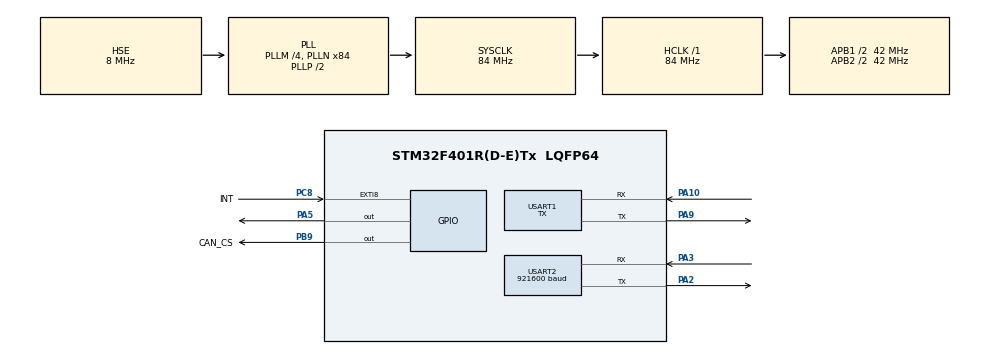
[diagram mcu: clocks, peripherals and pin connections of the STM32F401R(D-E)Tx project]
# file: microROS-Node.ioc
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Dma.Request0=USART2_RX
Dma.Request1=USART2_TX
Dma.Request2=USART1_TX
Dma.USART1_TX.2.Direction=DMA_MEMORY_TO_PERIPH
Dma.USART1_TX.2.FIFOMode=DMA_FIFOMODE_DISABLE
Dma.USART1_TX.2.Instance=DMA2_Stream7
Dma.USART1_TX.2.MemDataAlignment=DMA_MDATAALIGN_BYTE
Dma.USART1_TX.2.MemInc=DMA_MINC_ENABLE
Dma.USART1_TX.2.Mode=DMA_NORMAL
Dma.USART1_TX.2.PeriphDataAlignment=DMA_PDATAALIGN_BYTE
Dma.USART1_TX.2.PeriphInc=DMA_PINC_DISABLE
Dma.USART1_TX.2.Priority=DMA_PRIORITY_LOW
Dma.USART2_RX.0.Direction=DMA_PERIPH_TO_MEMORY
Dma.USART2_RX.0.FIFOMode=DMA_FIFOMODE_DISABLE
Dma.USART2_RX.0.Instance=DMA1_Stream5
Dma.USART2_RX.0.MemDataAlignment=DMA_MDATAALIGN_BYTE
Dma.USART2_RX.0.MemInc=DMA_MINC_ENABLE
Dma.USART2_RX.0.Mode=DMA_CIRCULAR
Dma.USART2_RX.0.PeriphDataAlignment=DMA_PDATAALIGN_BYTE
Dma.USART2_RX.0.PeriphInc=DMA_PINC_DISABLE
Dma.USART2_RX.0.Priority=DMA_PRIORITY_LOW
Dma.USART2_TX.1.Direction=DMA_MEMORY_TO_PERIPH
Dma.USART2_TX.1.FIFOMode=DMA_FIFOMODE_DISABLE
Dma.USART2_TX.1.Instance=DMA1_Stream6
Dma.USART2_TX.1.MemDataAlignment=DMA_MDATAALIGN_BYTE
Dma.USART2_TX.1.MemInc=DMA_MINC_ENABLE
Dma.USART2_TX.1.Mode=DMA_NORMAL
Dma.USART2_TX.1.PeriphDataAlignment=DMA_PDATAALIGN_BYTE
Dma.USART2_TX.1.PeriphInc=DMA_PINC_DISABLE
Dma.USART2_TX.1.Priority=DMA_PRIORITY_LOW
FREERTOS.Tasks01=defaultTask,24,2048,StartDefaultTask,Default,NULL,Dynamic,NULL,NULL;UART_Task,25,512,StartUART,Default,NULL,Dynamic,NULL,NULL
FREERTOS.configENABLE_FPU=0
FREERTOS.configMINIMAL_STACK_SIZE=128
FREERTOS.configTOTAL_HEAP_SIZE=11000
FREERTOS.configUSE_NEWLIB_REENTRANT=0
Mcu.Family=STM32F4
Mcu.Name=STM32F401R(D-E)Tx
Mcu.Package=LQFP64
NVIC.DMA1_Stream5_IRQn=true\:5\:0\:false\:false\:true\:true\:false\:true\:true
NVIC.DMA1_Stream6_IRQn=true\:5\:0\:false\:false\:true\:true\:false\:true\:true
NVIC.DMA2_Stream7_IRQn=true\:5\:0\:false\:false\:true\:true\:false\:true\:true
NVIC.EXTI9_5_IRQn=true\:5\:0\:false\:false\:true\:true\:true\:true\:true
NVIC.PriorityGroup=NVIC_PRIORITYGROUP_4
NVIC.TIM1_UP_TIM10_IRQn=true\:15\:0\:false\:false\:true\:false\:false\:true\:true
NVIC.TimeBase=TIM1_UP_TIM10_IRQn
NVIC.TimeBaseIP=TIM1
NVIC.USART1_IRQn=true\:5\:0\:false\:false\:true\:true\:true\:true\:true
NVIC.USART2_IRQn=true\:5\:0\:false\:false\:true\:true\:true\:true\:true
PA10.GPIO_PuPd=GPIO_PULLUP
PA10.Mode=Asynchronous
PA10.Signal=USART1_RX
PA2.Mode=Asynchronous
PA2.Signal=USART2_TX
PA3.GPIO_PuPd=GPIO_PULLUP
PA3.Mode=Asynchronous
PA3.Signal=USART2_RX
PA5.GPIO_Speed=GPIO_SPEED_FREQ_HIGH
PA5.Signal=GPIO_Output
PA9.Mode=Asynchronous
PA9.Signal=USART1_TX
PB9.GPIO_Label=CAN_CS
PB9.GPIO_PuPd=GPIO_PULLUP
PB9.GPIO_Speed=GPIO_SPEED_FREQ_MEDIUM
PB9.PinState=GPIO_PIN_SET
PB9.Signal=GPIO_Output
PC8.GPIO_Label=INT
PC8.GPIO_ModeDefaultEXTI=GPIO_MODE_IT_FALLING
PC8.GPIO_PuPd=GPIO_PULLUP
PC8.Signal=GPXTI8
PH0\ -\ OSC_IN.Mode=HSE-External-Oscillator
PH0\ -\ OSC_IN.Signal=RCC_OSC_IN
PH1\ -\ OSC_OUT.Mode=HSE-External-Oscillator
PH1\ -\ OSC_OUT.Signal=RCC_OSC_OUT
ProjectManager.HeapSize=0x200
ProjectManager.StackSize=0x400
ProjectManager.TargetToolchain=CMake
RCC.48MHZClocksFreq_Value=24000000
RCC.AHBFreq_Value=84000000
RCC.APB1CLKDivider=RCC_HCLK_DIV2
RCC.APB1Freq_Value=42000000
RCC.APB1TimFreq_Value=84000000
RCC.APB2CLKDivider=RCC_HCLK_DIV2
RCC.APB2Freq_Value=42000000
RCC.APB2TimFreq_Value=84000000
RCC.CortexFreq_Value=84000000
RCC.EnbaleCSS=true
RCC.HCLKFreq_Value=84000000
RCC.HSE_VALUE=8000000
RCC.HSI_VALUE=16000000
RCC.LSE_VALUE=32768
RCC.PLLM=4
RCC.PLLN=84
RCC.PLLQ=7
RCC.PLLSourceVirtual=RCC_PLLSOURCE_HSE
RCC.SYSCLKFreq_VALUE=84000000
RCC.SYSCLKSource=RCC_SYSCLKSOURCE_PLLCLK
RCC.VCOOutputFreq_Value=168000000
USART1.Mode=MODE_TX
USART1.Parity=PARITY_NONE
USART1.VirtualMode=VM_ASYNC
USART1.WordLength=WORDLENGTH_8B
USART2.BaudRate=921600
USART2.VirtualMode=VM_ASYNC
VP_FREERTOS_VS_CMSIS_V2.Mode=CMSIS_V2
VP_SYS_VS_tim1.Mode=TIM1
board=NUCLEO-F401RE

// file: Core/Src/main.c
/* USER CODE BEGIN Header */
/**
  ******************************************************************************
  * @file           : main.c
  * @brief          : Main program body
  ******************************************************************************
  * @attention
  *
  * Copyright (c) 2026 STMicroelectronics.
  * All rights reserved.
  *
  * This software is licensed under terms that can be found in the LICENSE file
  * in the root directory of this software component.
  * If no LICENSE file comes with this software, it is provided AS-IS.
  *
  ******************************************************************************
  */
/* USER CODE END Header */
#include "main.h"
#include "cmsis_os.h"

/* USER CODE BEGIN Includes */
#include <math.h>
#include <rcl/rcl.h>
#include <rcl/error_handling.h>
#include <rclc/rclc.h>
#include <rclc/executor.h>
#include <geometry_msgs/msg/vector3.h>
#include <sensor_msgs/msg/joint_state.h>
#include <string.h>
#include <uxr/client/transport.h>
#include <rmw_microxrcedds_c/config.h>
#include <rmw_microros/rmw_microros.h>
#include <rmw_microros/ping.h>
#include <rclc/executor.h>
#include <sys/time.h>
#include <unistd.h>
#include "stm32f4xx_hal_gpio.h"
#include <micro_ros_utilities/type_utilities.h>
#include <micro_ros_utilities/string_utilities.h>
/* USER CODE END Includes */

UART_HandleTypeDef huart1;
UART_HandleTypeDef huart2;
DMA_HandleTypeDef hdma_usart1_tx;
DMA_HandleTypeDef hdma_usart2_rx;
DMA_HandleTypeDef hdma_usart2_tx;

/* Definitions for defaultTask */
osThreadId_t defaultTaskHandle;
const osThreadAttr_t defaultTask_attributes = {
  .name = "defaultTask",
  .stack_size = 2048 * 4,
  .priority = (osPriority_t) osPriorityNormal,
};
/* Definitions for UART_Task */
osThreadId_t UART_TaskHandle;
const osThreadAttr_t UART_Task_attributes = {
  .name = "UART_Task",
  .stack_size = 512 * 4,
  .priority = (osPriority_t) osPriorityNormal1,
};
/* USER CODE BEGIN PV */

typedef struct {
   float pan_velocity;
   float tilt_velocity;
} JointTarget_t;

JointTarget_t joint_target = {
  .pan_velocity = 0.0f,
  .tilt_velocity = 0.0f
};

/* USER CODE END PV */

void SystemClock_Config(void);
static void MX_GPIO_Init(void);
static void MX_DMA_Init(void);
static void MX_USART2_UART_Init(void);
static void MX_USART1_UART_Init(void);
void StartDefaultTask(void *argument);
void StartUART(void *argument);

/* USER CODE BEGIN PFP */

void * microros_allocate(size_t size, void * state);
void microros_deallocate(void * pointer, void * state);
void * microros_reallocate(void * pointer, size_t size, void * state);
void * microros_zero_allocate(size_t number_of_elements, size_t size_of_element, void * state);

bool cubemx_transport_open(struct uxrCustomTransport * transport);
bool cubemx_transport_close(struct uxrCustomTransport * transport);
size_t cubemx_transport_write(struct uxrCustomTransport* transport, const uint8_t * buf, size_t len, uint8_t * err);
size_t cubemx_transport_read(struct uxrCustomTransport* transport, uint8_t* buf, size_t len, int timeout, uint8_t* err);
/* USER CODE END PFP */

/* USER CODE BEGIN 0 */

void subscription_callback(const void * msgin)
{
  const sensor_msgs__msg__JointState * msg =
      (const sensor_msgs__msg__JointState *)msgin;

  HAL_GPIO_TogglePin(GPIOA, GPIO_PIN_5);

  if (msg->velocity.size > 0) {
    joint_target.pan_velocity = (float)msg->velocity.data[0];
  }

  if (msg->velocity.size > 1) {
    joint_target.tilt_velocity = (float)msg->velocity.data[1];
  }

  osThreadFlagsSet(UART_TaskHandle, 0x0001);

}

int usleep(useconds_t usec)
{
    // Convert microseconds to milliseconds
    uint32_t ms = usec / 1000;

    // Ensure at least a 1ms delay if the requested time is > 0 but < 1000
    if (ms == 0 && usec > 0) {
        ms = 1;
    }

    osDelay(ms); // Yield to FreeRTOS
    return 0;
}

// 2. Implement POSIX gettimeofday using STM32 HAL tick
int _gettimeofday(struct timeval *tv, void *tz)
{
    // (void)tz; // timezone is generally ignored in bare-metal

    if (tv != NULL) {
        uint32_t tick = HAL_GetTick(); // Get system uptime in milliseconds
        tv->tv_sec = tick / 1000;              // Convert to seconds
        tv->tv_usec = (tick % 1000) * 1000;    // Remaining milliseconds to microseconds
    }
    return 0;
}

/* USER CODE END 0 */

int main(void)
{

  /* MCU Configuration--------------------------------------------------------*/

  /* Reset of all peripherals, Initializes the Flash interface and the Systick. */
  HAL_Init();

  /* Configure the system clock */
  SystemClock_Config();

  /* Initialize all configured peripherals */
  MX_GPIO_Init();
  MX_DMA_Init();
  MX_USART2_UART_Init();
  MX_USART1_UART_Init();

  /* Init scheduler */
  osKernelInitialize();

  /* Create the thread(s) */
  /* creation of defaultTask */
  defaultTaskHandle = osThreadNew(StartDefaultTask, NULL, &defaultTask_attributes);

  /* creation of UART_Task */
  UART_TaskHandle = osThreadNew(StartUART, NULL, &UART_Task_attributes);

  /* Start scheduler */
  osKernelStart();

  /* We should never get here as control is now taken by the scheduler */

  /* Infinite loop */
  while (1)
  {

  }
}

void SystemClock_Config(void)
{
  RCC_OscInitTypeDef RCC_OscInitStruct = {0};
  RCC_ClkInitTypeDef RCC_ClkInitStruct = {0};

  /** Configure the main internal regulator output voltage
  */
  __HAL_RCC_PWR_CLK_ENABLE();
  __HAL_PWR_VOLTAGESCALING_CONFIG(PWR_REGULATOR_VOLTAGE_SCALE2);

  /** Initializes the RCC Oscillators according to the specified parameters
  * in the RCC_OscInitTypeDef structure.
  */
  RCC_OscInitStruct.OscillatorType = RCC_OSCILLATORTYPE_HSE;
  RCC_OscInitStruct.HSEState = RCC_HSE_ON;
  RCC_OscInitStruct.PLL.PLLState = RCC_PLL_ON;
  RCC_OscInitStruct.PLL.PLLSource = RCC_PLLSOURCE_HSE;
  RCC_OscInitStruct.PLL.PLLM = 4;
  RCC_OscInitStruct.PLL.PLLN = 84;
  RCC_OscInitStruct.PLL.PLLP = RCC_PLLP_DIV2;
  RCC_OscInitStruct.PLL.PLLQ = 7;
  if (HAL_RCC_OscConfig(&RCC_OscInitStruct) != HAL_OK)
  {
    Error_Handler();
  }

  /** Initializes the CPU, AHB and APB buses clocks
  */
  RCC_ClkInitStruct.ClockType = RCC_CLOCKTYPE_HCLK|RCC_CLOCKTYPE_SYSCLK
                              |RCC_CLOCKTYPE_PCLK1|RCC_CLOCKTYPE_PCLK2;
  RCC_ClkInitStruct.SYSCLKSource = RCC_SYSCLKSOURCE_PLLCLK;
  RCC_ClkInitStruct.AHBCLKDivider = RCC_SYSCLK_DIV1;
  RCC_ClkInitStruct.APB1CLKDivider = RCC_HCLK_DIV2;
  RCC_ClkInitStruct.APB2CLKDivider = RCC_HCLK_DIV2;

  if (HAL_RCC_ClockConfig(&RCC_ClkInitStruct, FLASH_LATENCY_2) != HAL_OK)
  {
    Error_Handler();
  }

  /** Enables the Clock Security System
  */
  HAL_RCC_EnableCSS();
}

static void MX_USART1_UART_Init(void)
{

  huart1.Instance = USART1;
  huart1.Init.BaudRate = 115200;
  huart1.Init.WordLength = UART_WORDLENGTH_8B;
  huart1.Init.StopBits = UART_STOPBITS_1;
  huart1.Init.Parity = UART_PARITY_NONE;
  huart1.Init.Mode = UART_MODE_TX;
  huart1.Init.HwFlowCtl = UART_HWCONTROL_NONE;
  huart1.Init.OverSampling = UART_OVERSAMPLING_16;
  if (HAL_UART_Init(&huart1) != HAL_OK)
  {
    Error_Handler();
  }

}

static void MX_USART2_UART_Init(void)
{

  huart2.Instance = USART2;
  huart2.Init.BaudRate = 921600;
  huart2.Init.WordLength = UART_WORDLENGTH_8B;
  huart2.Init.StopBits = UART_STOPBITS_1;
  huart2.Init.Parity = UART_PARITY_NONE;
  huart2.Init.Mode = UART_MODE_TX_RX;
  huart2.Init.HwFlowCtl = UART_HWCONTROL_NONE;
  huart2.Init.OverSampling = UART_OVERSAMPLING_16;
  if (HAL_UART_Init(&huart2) != HAL_OK)
  {
    Error_Handler();
  }

}

static void MX_DMA_Init(void)
{

  /* DMA controller clock enable */
  __HAL_RCC_DMA1_CLK_ENABLE();
  __HAL_RCC_DMA2_CLK_ENABLE();

  /* DMA interrupt init */
  /* DMA1_Stream5_IRQn interrupt configuration */
  HAL_NVIC_SetPriority(DMA1_Stream5_IRQn, 5, 0);
  HAL_NVIC_EnableIRQ(DMA1_Stream5_IRQn);
  /* DMA1_Stream6_IRQn interrupt configuration */
  HAL_NVIC_SetPriority(DMA1_Stream6_IRQn, 5, 0);
  HAL_NVIC_EnableIRQ(DMA1_Stream6_IRQn);
  /* DMA2_Stream7_IRQn interrupt configuration */
  HAL_NVIC_SetPriority(DMA2_Stream7_IRQn, 5, 0);
  HAL_NVIC_EnableIRQ(DMA2_Stream7_IRQn);

}

static void MX_GPIO_Init(void)
{
  GPIO_InitTypeDef GPIO_InitStruct = {0};

  /* GPIO Ports Clock Enable */
  __HAL_RCC_GPIOH_CLK_ENABLE();
  __HAL_RCC_GPIOA_CLK_ENABLE();
  __HAL_RCC_GPIOC_CLK_ENABLE();
  __HAL_RCC_GPIOB_CLK_ENABLE();

  /*Configure GPIO pin Output Level */
  HAL_GPIO_WritePin(GPIOA, GPIO_PIN_5, GPIO_PIN_RESET);

  /*Configure GPIO pin Output Level */
  HAL_GPIO_WritePin(CAN_CS_GPIO_Port, CAN_CS_Pin, GPIO_PIN_SET);

  /*Configure GPIO pin : PA5 */
  GPIO_InitStruct.Pin = GPIO_PIN_5;
  GPIO_InitStruct.Mode = GPIO_MODE_OUTPUT_PP;
  GPIO_InitStruct.Pull = GPIO_NOPULL;
  GPIO_InitStruct.Speed = GPIO_SPEED_FREQ_HIGH;
  HAL_GPIO_Init(GPIOA, &GPIO_InitStruct);

  /*Configure GPIO pin : INT_Pin */
  GPIO_InitStruct.Pin = INT_Pin;
  GPIO_InitStruct.Mode = GPIO_MODE_IT_FALLING;
  GPIO_InitStruct.Pull = GPIO_PULLUP;
  HAL_GPIO_Init(INT_GPIO_Port, &GPIO_InitStruct);

  /*Configure GPIO pin : CAN_CS_Pin */
  GPIO_InitStruct.Pin = CAN_CS_Pin;
  GPIO_InitStruct.Mode = GPIO_MODE_OUTPUT_PP;
  GPIO_InitStruct.Pull = GPIO_PULLUP;
  GPIO_InitStruct.Speed = GPIO_SPEED_FREQ_MEDIUM;
  HAL_GPIO_Init(CAN_CS_GPIO_Port, &GPIO_InitStruct);

  /* EXTI interrupt init*/
  HAL_NVIC_SetPriority(EXTI9_5_IRQn, 5, 0);
  HAL_NVIC_EnableIRQ(EXTI9_5_IRQn);

}

void StartDefaultTask(void *argument)
{
  /* USER CODE BEGIN 5 */

  rmw_uros_set_custom_transport(
    true,
    (void *) &huart2,
    cubemx_transport_open,
    cubemx_transport_close,
    cubemx_transport_write,
    cubemx_transport_read);

 rcl_allocator_t freeRTOS_allocator = rcutils_get_zero_initialized_allocator();
  freeRTOS_allocator.allocate = microros_allocate;
  freeRTOS_allocator.deallocate = microros_deallocate;
  freeRTOS_allocator.reallocate = microros_reallocate;
  freeRTOS_allocator.zero_allocate =  microros_zero_allocate;

  if (!rcutils_set_default_allocator(&freeRTOS_allocator)) {
   printf("Error on default allocators (line %d)\n", __LINE__);
  }

  // micro-ROS app

  sensor_msgs__msg__JointState msg;
  rcl_subscription_t subscriber;
  rclc_support_t support;
  rcl_node_t node;
  rclc_executor_t executor;

  const char * topic_name = "/anti_uav/joint_command";

    //create init_options
  rcl_ret_t rc = rclc_support_init(&support, 0, NULL, &freeRTOS_allocator);
  if (rc != RCL_RET_OK) {
    Error_Handler();
  }

  const rosidl_message_type_support_t * type_support =
      ROSIDL_GET_MSG_TYPE_SUPPORT(sensor_msgs, msg, JointState);
  rc = rclc_node_init_default(&node, "stm32_subscriber_node", "", &support);
  if (rc != RCL_RET_OK) {
    Error_Handler();
  }

  subscriber = rcl_get_zero_initialized_subscription();
  rc = rclc_subscription_init_default(
  &subscriber, &node,
  type_support, topic_name);

  if (rc != RCL_RET_OK) {
    Error_Handler();
  }

  if (!sensor_msgs__msg__JointState__init(&msg)) {
    Error_Handler();
  }
  micro_ros_utilities_memory_conf_t conf = {0};
  conf.max_string_capacity = 20;
  conf.max_ros2_type_sequence_capacity = 5; // Max elements for nested sequences
  conf.max_basic_type_sequence_capacity = 5; // Max elements for basic type arrays (doubles)

  // Allocate the memory using the utilities function
  bool success = micro_ros_utilities_create_message_memory(
      ROSIDL_GET_MSG_TYPE_SUPPORT(sensor_msgs, msg, JointState),
      &msg,
      conf
  );

  if (!success) {
      Error_Handler();
  }

  executor = rclc_executor_get_zero_initialized_executor();
  rc = rclc_executor_init(&executor, &support.context, 2, &freeRTOS_allocator);
  if (rc != RCL_RET_OK) {
    Error_Handler();
  }
  rc = rclc_executor_add_subscription(
    &executor, &subscriber, &msg,
    &subscription_callback, ON_NEW_DATA);

    if (RCL_RET_OK != rc) {
    Error_Handler();
  }

  UBaseType_t unused_stack_size = 0;
  unused_stack_size = uxTaskGetStackHighWaterMark(NULL);

  //rclc_executor_spin(&executor);

   /* Infinite loop */
  for(;;)
  {
    rc = rclc_executor_spin_some(&executor, RCL_MS_TO_NS(10));
  }
  /* USER CODE END 5 */
}

void StartUART(void *argument)
{
  /* USER CODE BEGIN StartUART */
  /* Infinite loop */
  for(;;)
  {
    osThreadFlagsWait(0x0001, osFlagsWaitAny, osWaitForever);
    // Process the received data
    HAL_UART_Transmit_DMA(&huart1, (uint8_t*)&joint_target, sizeof(JointTarget_t));
    osDelay(1);
  }
  /* USER CODE END StartUART */
}

void HAL_TIM_PeriodElapsedCallback(TIM_HandleTypeDef *htim)
{
  if (htim->Instance == TIM1)
  {
    HAL_IncTick();
  }
}

void Error_Handler(void)
{
  __disable_irq();
  while (1)
  {
  }
}
